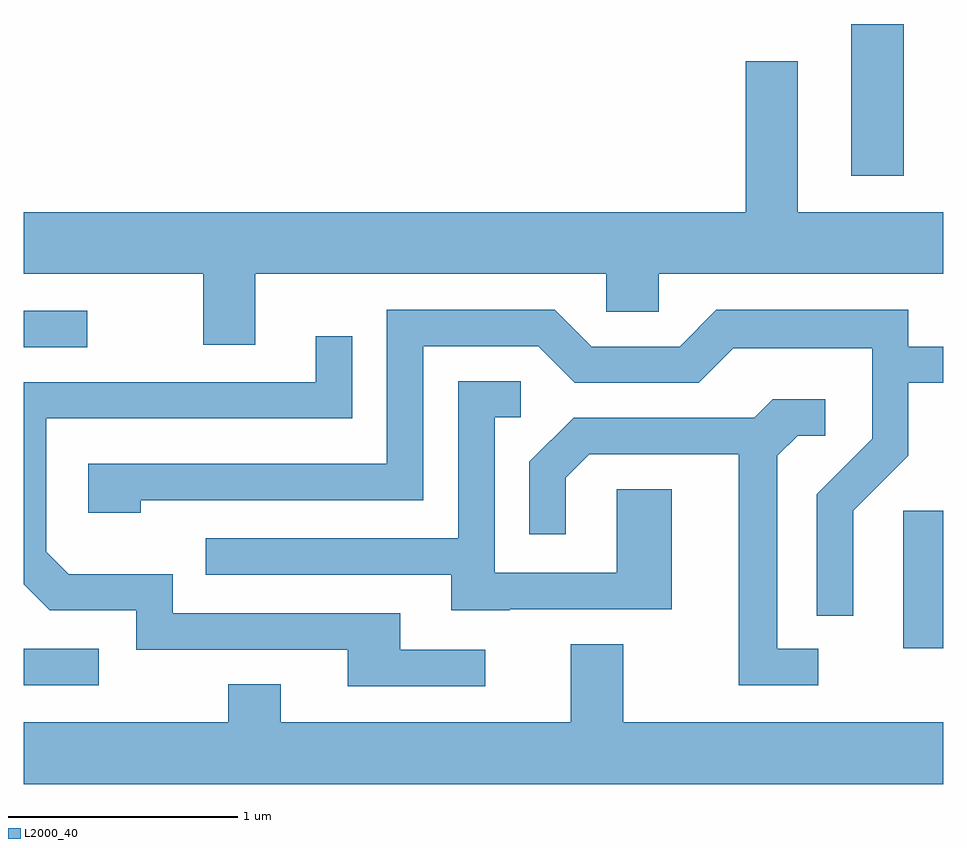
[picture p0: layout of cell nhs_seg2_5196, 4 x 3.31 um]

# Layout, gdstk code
import gdstk
lib = gdstk.Library(unit=1e-6, precision=1e-09)
def R(c, l, rs):  # rectangles x0, y0, x1, y1
    for r in rs: c.add(gdstk.rectangle(r[:2], r[2:], *l))
def P(c, l, *ps):  # polygons
    for p in ps: c.add(gdstk.Polygon(p, *l))
L2000_40 = (2000, 40)

nhs_seg2_5196 = lib.new_cell('nhs_seg2_5196')
R(nhs_seg2_5196, L2000_40, [(337.611,1090.926,337.938,1091.084), (341.436,1091.086,341.611,1091.684), (337.611,1092.396,337.888,1092.554), (341.211,1093.141,341.439,1093.802)])
P(nhs_seg2_5196, L2000_40, [(338.619,1092.716),(340.146,1092.716),(340.146,1092.551),(340.374,1092.551),(340.374,1092.716),(341.611,1092.716),(341.611,1092.984),(340.979,1092.984),(340.979,1093.639),(340.751,1093.639),(340.751,1092.984),(337.611,1092.984),(337.611,1092.716),(338.391,1092.716),(338.391,1092.406),(338.619,1092.406)],
  [(341.219,1091.684),(341.459,1091.924),(341.459,1092.241),(341.611,1092.241),(341.611,1092.399),(341.459,1092.399),(341.459,1092.559),(340.624,1092.559),(340.464,1092.399),(340.082,1092.399),(339.922,1092.559),(339.191,1092.559),(339.191,1091.889),(337.891,1091.889),(337.891,1091.676),(338.119,1091.676),(338.119,1091.731),(339.349,1091.731),(339.349,1092.401),(339.849,1092.401),(340.009,1092.241),(340.547,1092.241),(340.697,1092.391),(341.301,1092.391),(341.301,1091.997),(341.061,1091.757),(341.061,1091.228),(341.219,1091.228)],
  [(339.618,1091.079),(339.249,1091.079),(339.249,1091.239),(338.259,1091.239),(338.259,1091.409),(337.807,1091.409),(337.709,1091.507),(337.709,1092.086),(339.039,1092.086),(339.039,1092.443),(338.881,1092.443),(338.881,1092.244),(337.611,1092.244),(337.611,1091.364),(337.724,1091.251),(338.101,1091.251),(338.101,1091.081),(339.021,1091.081),(339.021,1090.921),(339.618,1090.921)],
  [(339.725,1091.256),(340.429,1091.256),(340.429,1091.779),(340.191,1091.779),(340.191,1091.414),(339.659,1091.414),(339.659,1092.091),(339.773,1092.091),(339.773,1092.249),(339.501,1092.249),(339.501,1091.564),(338.403,1091.564),(338.403,1091.406),(339.471,1091.406),(339.471,1091.251),(339.725,1091.251)],
  [(341.068,1091.084),(340.889,1091.084),(340.889,1091.924),(340.977,1092.011),(341.098,1092.011),(341.098,1092.169),(340.869,1092.169),(340.789,1092.089),(340.004,1092.089),(339.811,1091.897),(339.811,1091.583),(339.969,1091.583),(339.969,1091.829),(340.072,1091.931),(340.721,1091.931),(340.721,1090.926),(341.068,1090.926)],
  [(341.611,1090.764),(340.219,1090.764),(340.219,1091.104),(339.991,1091.104),(339.991,1090.764),(338.729,1090.764),(338.729,1090.929),(338.501,1090.929),(338.501,1090.764),(337.611,1090.764),(337.611,1090.496),(341.611,1090.496)])

lib.write_gds('nhs_seg2_5196.gds')
